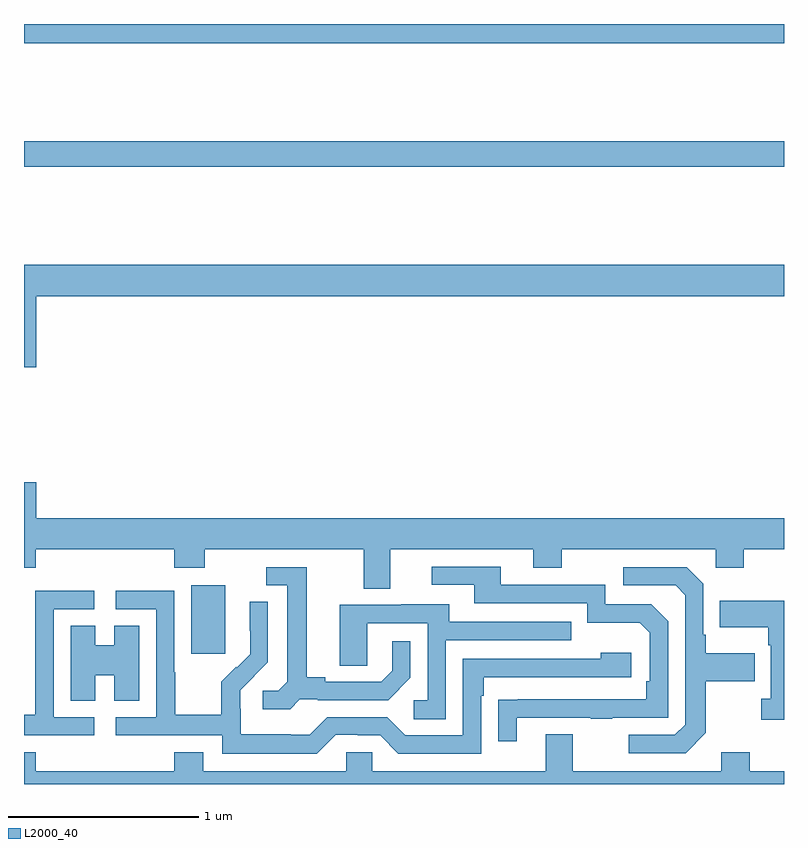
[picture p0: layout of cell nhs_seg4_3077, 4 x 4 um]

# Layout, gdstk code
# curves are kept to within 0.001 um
import gdstk
lib = gdstk.Library(unit=1e-6, precision=1e-09)
def R(c, l, rs):  # rectangles x0, y0, x1, y1
    for r in rs: c.add(gdstk.rectangle(r[:2], r[2:], *l))
def P(c, l, *ps):  # polygons
    for p in ps: c.add(gdstk.Polygon(p, *l))
L2000_40 = (2000, 40)

nhs_seg4_3077 = lib.new_cell('nhs_seg4_3077')
R(nhs_seg4_3077, L2000_40, [(273.881,813.585,274.06,813.946), (273,816.148,277,816.284), (273,816.8,277,816.9)])
P(nhs_seg4_3077, L2000_40, [(273.064,815.468),(277,815.468),(277,815.632),(273,815.632),(273,815.094),(273.064,815.094)],
  [(274.927,814.136),(275.681,814.136),(275.681,814.037),(275.829,814.037),(275.829,814.136),(276.642,814.136),(276.642,814.037),(276.789,814.037),(276.789,814.136),(277,814.136),(277,814.3),(273.064,814.3),(273.064,814.489),(273,814.489),(273,814.037),(273.062,814.037),(273.062,814.136),(273.791,814.136),(273.791,814.037),(273.951,814.037),(273.951,814.136),(274.787,814.136),(274.787,813.928),(274.927,813.928)],
  [(275.593,813.249),(275.983,813.249),(275.983,813.244),(276.095,813.244),(276.095,813.249),(276.39,813.249),(276.39,813.756),(276.3,813.846),(276.06,813.846),(276.06,813.948),(275.509,813.948),(275.509,814.044),(275.145,814.044),(275.145,813.948),(275.369,813.948),(275.369,813.852),(275.964,813.852),(275.964,813.749),(276.241,813.749),(276.294,813.696),(276.294,813.442),(276.274,813.442),(276.274,813.345),(275.497,813.344),(275.497,813.126),(275.593,813.126)],
  [(276.589,813.169),(276.589,813.442),(276.845,813.442),(276.845,813.589),(276.589,813.589),(276.589,813.685),(276.576,813.685),(276.576,813.954),(276.489,814.041),(276.153,814.041),(276.153,813.945),(276.429,813.945),(276.48,813.894),(276.48,813.213),(276.426,813.159),(276.183,813.159),(276.183,813.063),(276.483,813.063)],
  [(274.452,813.345),(274.546,813.345),(274.546,813.342),(274.918,813.342),(275.034,813.458),(275.034,813.652),(274.937,813.652),(274.937,813.495),(274.88,813.438),(274.585,813.438),(274.585,813.461),(274.489,813.461),(274.489,814.041),(274.275,814.041),(274.275,813.945),(274.385,813.945),(274.385,813.437),(274.338,813.39),(274.257,813.39),(274.257,813.293),(274.4,813.293)],
  [(274.641,813.159),(274.757,813.159),(274.757,813.156),(274.875,813.156),(274.971,813.06),(275.406,813.06),(275.406,813.365),(275.419,813.365),(275.419,813.462),(276.196,813.462),(276.196,813.592),(276.035,813.592),(276.035,813.558),(275.31,813.558),(275.31,813.156),(275.007,813.156),(274.911,813.252),(274.596,813.252),(274.503,813.159),(274.403,813.159),(274.403,813.163),(274.14,813.163),(274.14,813.297),(274.138,813.297),(274.138,813.394),(274.284,813.542),(274.284,813.86),(274.188,813.86),(274.188,813.706),(274.19,813.706),(274.19,813.584),(274.119,813.513),(274.116,813.516),(274.039,813.439),(274.039,813.265),(273.795,813.265),(273.795,813.488),(273.792,813.488),(273.792,813.918),(273.483,813.918),(273.483,813.819),(273.696,813.819),(273.696,813.252),(273.483,813.252),(273.483,813.156),(274.044,813.156),(274.044,813.059),(274.541,813.059)],
  [(273.37,813.252),(273.156,813.252),(273.156,813.819),(273.37,813.819),(273.37,813.918),(273.06,813.918),(273.06,813.488),(273.058,813.488),(273.058,813.265),(273,813.265),(273,813.156),(273.37,813.156)],
  [(277,813.865),(276.661,813.865),(276.661,813.725),(276.918,813.725),(276.918,813.629),(276.93,813.629),(276.93,813.35),(276.879,813.35),(276.879,813.237),(277,813.237)],
  [(275.22,813.657),(275.879,813.657),(275.879,813.753),(275.239,813.753),(275.239,813.847),(274.985,813.847),(274.985,813.843),(274.661,813.843),(274.661,813.523),(274.806,813.523),(274.806,813.747),(275.124,813.747),(275.124,813.342),(275.052,813.342),(275.052,813.241),(275.22,813.241)],
  [(273.376,813.473),(273.476,813.473),(273.476,813.337),(273.607,813.337),(273.607,813.734),(273.476,813.734),(273.476,813.631),(273.376,813.631),(273.376,813.734),(273.245,813.734),(273.245,813.337),(273.376,813.337)],
  [(277,812.968),(276.819,812.968),(276.819,813.067),(276.671,813.067),(276.671,812.968),(275.887,812.968),(275.887,813.163),(275.747,813.163),(275.747,812.968),(274.833,812.968),(274.833,813.066),(274.695,813.066),(274.695,812.968),(273.943,812.968),(273.943,813.067),(273.791,813.067),(273.791,812.968),(273.062,812.968),(273.062,813.067),(273,813.067),(273,812.9),(277,812.9)])

lib.write_gds('nhs_seg4_3077.gds')
